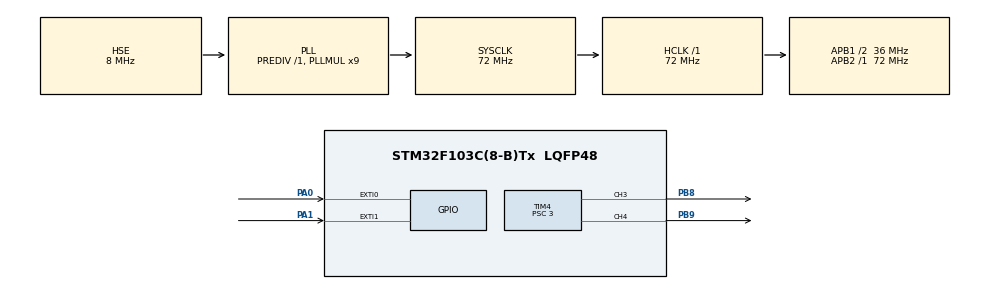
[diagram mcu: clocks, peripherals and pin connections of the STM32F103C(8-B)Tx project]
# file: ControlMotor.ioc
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Mcu.Family=STM32F1
Mcu.Name=STM32F103C(8-B)Tx
Mcu.Package=LQFP48
NVIC.EXTI0_IRQn=true\:0\:0\:false\:false\:true\:true\:true\:true
NVIC.EXTI1_IRQn=true\:0\:0\:false\:false\:true\:true\:true\:true
NVIC.PriorityGroup=NVIC_PRIORITYGROUP_4
PA0-WKUP.GPIO_ModeDefaultEXTI=GPIO_MODE_IT_RISING_FALLING
PA0-WKUP.Signal=GPXTI0
PA1.GPIO_ModeDefaultEXTI=GPIO_MODE_IT_RISING_FALLING
PA1.Signal=GPXTI1
PA13.Mode=Serial_Wire
PA13.Signal=SYS_JTMS-SWDIO
PA14.Mode=Serial_Wire
PA14.Signal=SYS_JTCK-SWCLK
PB8.Signal=S_TIM4_CH3
PB9.Signal=S_TIM4_CH4
PD0-OSC_IN.Mode=HSE-External-Oscillator
PD0-OSC_IN.Signal=RCC_OSC_IN
PD1-OSC_OUT.Mode=HSE-External-Oscillator
PD1-OSC_OUT.Signal=RCC_OSC_OUT
ProjectManager.HeapSize=0x200
ProjectManager.StackSize=0x400
ProjectManager.TargetToolchain=STM32CubeIDE
RCC.AHBFreq_Value=72000000
RCC.APB1CLKDivider=RCC_HCLK_DIV2
RCC.APB1Freq_Value=36000000
RCC.APB1TimFreq_Value=72000000
RCC.APB2Freq_Value=72000000
RCC.APB2TimFreq_Value=72000000
RCC.HCLKFreq_Value=72000000
RCC.PLLMUL=RCC_PLL_MUL9
RCC.PLLSourceVirtual=RCC_PLLSOURCE_HSE
RCC.SYSCLKFreq_VALUE=72000000
RCC.SYSCLKSource=RCC_SYSCLKSOURCE_PLLCLK
RCC.USBFreq_Value=72000000
SH.S_TIM4_CH3.0=TIM4_CH3,PWM Generation3 CH3
SH.S_TIM4_CH4.0=TIM4_CH4,PWM Generation4 CH4
TIM4.Channel-PWM\ Generation3\ CH3=TIM_CHANNEL_3
TIM4.Channel-PWM\ Generation4\ CH4=TIM_CHANNEL_4
TIM4.Period=999
TIM4.Prescaler=3
board=custom

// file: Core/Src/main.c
/* USER CODE BEGIN Header */
/**
  ******************************************************************************
  * @file           : main.c
  * @brief          : Main program body
  ******************************************************************************
  * @attention
  *
  * Copyright (c) 2022 STMicroelectronics.
  * All rights reserved.
  *
  * This software is licensed under terms that can be found in the LICENSE file
  * in the root directory of this software component.
  * If no LICENSE file comes with this software, it is provided AS-IS.
  *
  ******************************************************************************
  */
/* USER CODE END Header */
#include "main.h"

TIM_HandleTypeDef htim4;

/* USER CODE BEGIN PV */
#define ENCODER_M_L1_Pin GPIO_PIN_0
#define ENCODER_M_R1_Pin GPIO_PIN_1
#define ENCODER_M_L1_GPIO_Port GPIOA
#define ENCODER_M_R1_GPIO_Port GPIOA
int encoder1;
int encoder2;
int counter=0;
int last_encoder1=0;
int last_encoder2=0;
/* USER CODE END PV */

void SystemClock_Config(void);
static void MX_GPIO_Init(void);
static void MX_TIM4_Init(void);
/* USER CODE BEGIN PFP */
void HAL_GPIO_EXTI_Callback(uint16_t GPIO_Pin){
  if(GPIO_Pin == ENCODER_M_L1_Pin||ENCODER_M_R1_Pin){
    encoder1 = HAL_GPIO_ReadPin(ENCODER_M_L1_GPIO_Port, ENCODER_M_L1_Pin);
    encoder2 = HAL_GPIO_ReadPin(ENCODER_M_R1_GPIO_Port, ENCODER_M_R1_Pin);
  }
}
/* USER CODE END PFP */

int main(void)
{
  /* USER CODE BEGIN 1 */
	void encoder(){
	      if(encoder1 != last_encoder1){
	        last_encoder1 = encoder1;
	        if(encoder1 == 0){
	          if(encoder2 == 1){

	            counter++;
	          }else{
	            counter--;
	          }
	        }else{
	          if(encoder2 == 0){
	            counter++;
	          }else{
	            counter--;
	          }
	        }
	      }
	      if(encoder2 != last_encoder2){
	        last_encoder2 = encoder2;
	        if(encoder2 == 1){
	          if(encoder1 == 1){
	            counter++;
	          }else{
	            counter--;
	          }
	        }else{
	          if(encoder1 == 0){
	            counter++;
	          }else{
	            counter--;
	          }
	        }
	      }
	}
  /* USER CODE END 1 */

  /* MCU Configuration--------------------------------------------------------*/

  /* Reset of all peripherals, Initializes the Flash interface and the Systick. */
  HAL_Init();

  /* Configure the system clock */
  SystemClock_Config();

  /* Initialize all configured peripherals */
  MX_GPIO_Init();
  MX_TIM4_Init();
  /* USER CODE BEGIN 2 */
  HAL_TIM_PWM_Start(&htim4, TIM_CHANNEL_3);
  HAL_TIM_PWM_Start(&htim4, TIM_CHANNEL_4);
  /* USER CODE END 2 */

  /* Infinite loop */
  /* USER CODE BEGIN WHILE */
  while (1)
  {
	  encoder();
	  __HAL_TIM_SET_COMPARE(&htim4,TIM_CHANNEL_3, 1000);
	  if (counter>=2800){
		  __HAL_TIM_SET_COMPARE(&htim4,TIM_CHANNEL_3, 0);
	  }
    /* USER CODE END WHILE */

  }
}

void SystemClock_Config(void)
{
  RCC_OscInitTypeDef RCC_OscInitStruct = {0};
  RCC_ClkInitTypeDef RCC_ClkInitStruct = {0};

  /** Initializes the RCC Oscillators according to the specified parameters
  * in the RCC_OscInitTypeDef structure.
  */
  RCC_OscInitStruct.OscillatorType = RCC_OSCILLATORTYPE_HSE;
  RCC_OscInitStruct.HSEState = RCC_HSE_ON;
  RCC_OscInitStruct.HSEPredivValue = RCC_HSE_PREDIV_DIV1;
  RCC_OscInitStruct.HSIState = RCC_HSI_ON;
  RCC_OscInitStruct.PLL.PLLState = RCC_PLL_ON;
  RCC_OscInitStruct.PLL.PLLSource = RCC_PLLSOURCE_HSE;
  RCC_OscInitStruct.PLL.PLLMUL = RCC_PLL_MUL9;
  if (HAL_RCC_OscConfig(&RCC_OscInitStruct) != HAL_OK)
  {
    Error_Handler();
  }

  /** Initializes the CPU, AHB and APB buses clocks
  */
  RCC_ClkInitStruct.ClockType = RCC_CLOCKTYPE_HCLK|RCC_CLOCKTYPE_SYSCLK
                              |RCC_CLOCKTYPE_PCLK1|RCC_CLOCKTYPE_PCLK2;
  RCC_ClkInitStruct.SYSCLKSource = RCC_SYSCLKSOURCE_PLLCLK;
  RCC_ClkInitStruct.AHBCLKDivider = RCC_SYSCLK_DIV1;
  RCC_ClkInitStruct.APB1CLKDivider = RCC_HCLK_DIV2;
  RCC_ClkInitStruct.APB2CLKDivider = RCC_HCLK_DIV1;

  if (HAL_RCC_ClockConfig(&RCC_ClkInitStruct, FLASH_LATENCY_2) != HAL_OK)
  {
    Error_Handler();
  }
}

static void MX_TIM4_Init(void)
{

  TIM_MasterConfigTypeDef sMasterConfig = {0};
  TIM_OC_InitTypeDef sConfigOC = {0};

  htim4.Instance = TIM4;
  htim4.Init.Prescaler = 3;
  htim4.Init.CounterMode = TIM_COUNTERMODE_UP;
  htim4.Init.Period = 999;
  htim4.Init.ClockDivision = TIM_CLOCKDIVISION_DIV1;
  htim4.Init.AutoReloadPreload = TIM_AUTORELOAD_PRELOAD_DISABLE;
  if (HAL_TIM_PWM_Init(&htim4) != HAL_OK)
  {
    Error_Handler();
  }
  sMasterConfig.MasterOutputTrigger = TIM_TRGO_RESET;
  sMasterConfig.MasterSlaveMode = TIM_MASTERSLAVEMODE_DISABLE;
  if (HAL_TIMEx_MasterConfigSynchronization(&htim4, &sMasterConfig) != HAL_OK)
  {
    Error_Handler();
  }
  sConfigOC.OCMode = TIM_OCMODE_PWM1;
  sConfigOC.Pulse = 0;
  sConfigOC.OCPolarity = TIM_OCPOLARITY_HIGH;
  sConfigOC.OCFastMode = TIM_OCFAST_DISABLE;
  if (HAL_TIM_PWM_ConfigChannel(&htim4, &sConfigOC, TIM_CHANNEL_3) != HAL_OK)
  {
    Error_Handler();
  }
  if (HAL_TIM_PWM_ConfigChannel(&htim4, &sConfigOC, TIM_CHANNEL_4) != HAL_OK)
  {
    Error_Handler();
  }
  HAL_TIM_MspPostInit(&htim4);

}

static void MX_GPIO_Init(void)
{
  GPIO_InitTypeDef GPIO_InitStruct = {0};

  /* GPIO Ports Clock Enable */
  __HAL_RCC_GPIOD_CLK_ENABLE();
  __HAL_RCC_GPIOA_CLK_ENABLE();
  __HAL_RCC_GPIOB_CLK_ENABLE();

  /*Configure GPIO pins : PA0 PA1 */
  GPIO_InitStruct.Pin = GPIO_PIN_0|GPIO_PIN_1;
  GPIO_InitStruct.Mode = GPIO_MODE_IT_RISING_FALLING;
  GPIO_InitStruct.Pull = GPIO_NOPULL;
  HAL_GPIO_Init(GPIOA, &GPIO_InitStruct);

  /* EXTI interrupt init*/
  HAL_NVIC_SetPriority(EXTI0_IRQn, 0, 0);
  HAL_NVIC_EnableIRQ(EXTI0_IRQn);

  HAL_NVIC_SetPriority(EXTI1_IRQn, 0, 0);
  HAL_NVIC_EnableIRQ(EXTI1_IRQn);

}

void Error_Handler(void)
{
  __disable_irq();
  while (1)
  {
  }
}
